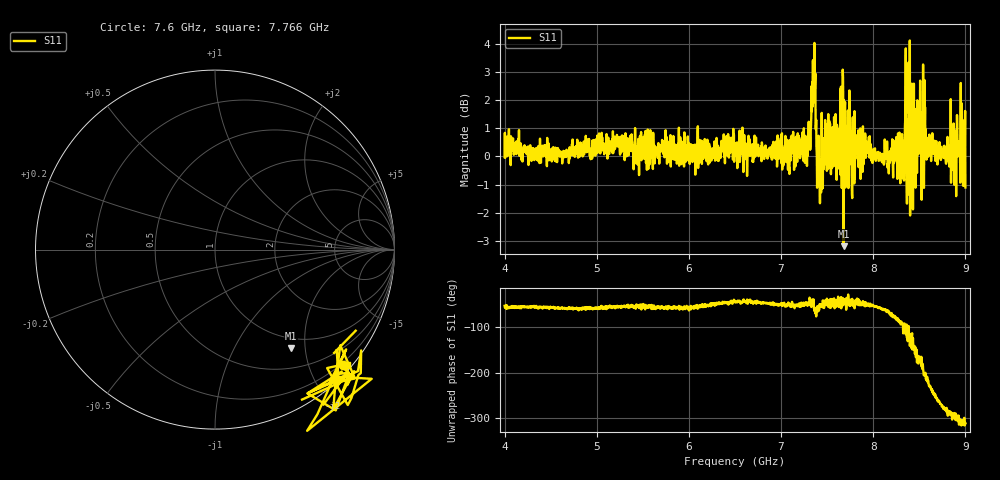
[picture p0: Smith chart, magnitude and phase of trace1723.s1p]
! Created with skrf 1.8.0 (http://scikit-rf.org).
# Hz S RI R 50.0
!freq ReS11 ImS11
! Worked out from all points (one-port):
!   1601 points, 4 GHz to 9 GHz, reference 50 ohm
!   lowest |S11| = -3.2 dB at 7.678 GHz (marker M1), VSWR 5.50, Z = 40.9 - j86.3 ohm
!   |S11| at or under -10 dB: nowhere
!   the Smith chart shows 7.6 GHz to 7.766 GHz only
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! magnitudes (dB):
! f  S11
! 4 GHz  0.0
! 4.625 GHz  -0.2
! 5.25 GHz  0.2
! 5.875 GHz  0.1
! 6.5 GHz  0.0
! 7.075 GHz  -0.5
! 7.125 GHz  0.7
! 7.294 GHz  0.7
! 7.35 GHz  2.6
! 7.412 GHz  -0.9
! 7.438 GHz  -0.1
! 7.503 GHz  0.8
! 7.612 GHz  0.5
! 7.678 GHz  -3.2
! 7.75 GHz  0.5
! 8.178 GHz  -0.1
! 8.259 GHz  0.6
! 8.312 GHz  0.8
! 8.334 GHz  -0.9
! 8.356 GHz  0.3
! 8.375 GHz  1.3
! 8.409 GHz  1.4
! 8.425 GHz  -0.4
! 8.519 GHz  1.4
! 8.603 GHz  0.7
! 8.806 GHz  0.7
! 8.972 GHz  0.5
! 9 GHz  -1.1
